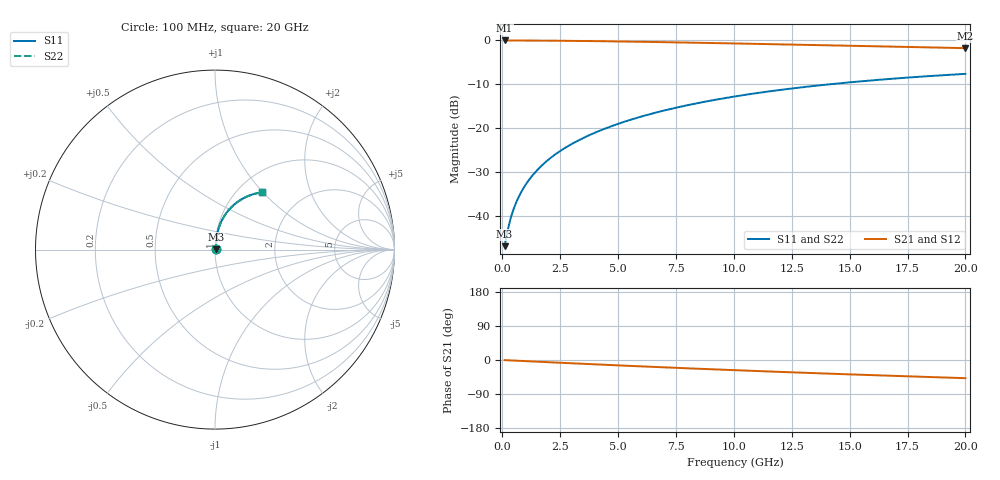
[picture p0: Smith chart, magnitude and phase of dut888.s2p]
! Touchstone file exported from HFSS 2024.1.0
!  File:  C:/UserFiles/LocalFiles/RDL_TSV_Batchsim/temp_RDL_bottom_888_1779865786.aedt
!  Generated:  03:12:21 PM May 27, 2026
!  Design:  RDL_bottom
!  Project:  temp_RDL_bottom_888_1779865786
!  Setup:  Setup1
!  Solution:  Sweep
! Variables:
!  dtsv = 10.80580581um
!  hbump = 3um
!  htsv = 92.83um
!  ldown = 673.73um
!  lrdl = 100um
!  p = 40
!  p1 = 52.28um
!  rhole = 1um
!  t = 450um
!  tdown = 3um
!  trdl = 3.915915916um
!  wdown = 22.37um
!  wrdl = 20um
# GHz S MA R 50.000000
! Terminal data exported
! Port[1] = RDL1_T1
! Port[2] = RDL1_T2
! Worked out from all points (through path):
!   200 points, 100 MHz to 20 GHz, reference 50 ohm
!   highest |S21| = -0.03 dB at 100 MHz (marker M1); lowest = -1.8 dB at 20 GHz (marker M2)
!   group delay of S21, straight-line fit = 6.62 ps
!   lowest |S11| = -47.0 dB at 100 MHz (marker M3), VSWR 1.01, Z = 50.4 + j0.24 ohm
!   |S11| at or under -10 dB: start of sweep to 14.21 GHz
!   |S22| runs from -47.0 to -7.7 dB; largest |S21 - S12| = 1e-14
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0.1  0.004466 32.3  0.9962 -0.3  0.9962 -0.3  0.004466 32.3
! Gamma 0 0 0 0
! Port Impedance 50 0 50 0
0.2  0.00613 50.1  0.996 -0.6  0.996 -0.6  0.00613 50.1
0.3  0.008066 59.2  0.9958 -0.9  0.9958 -0.9  0.008066 59.2
0.4  0.01006 64.6  0.9956 -1.2  0.9956 -1.2  0.01006 64.6
0.5  0.01208 68.2  0.9953 -1.5  0.9953 -1.5  0.01208 68.2
0.6  0.0141 70.9  0.9951 -1.8  0.9951 -1.8  0.0141 70.9
0.8  0.01818 74.5  0.9947 -2.4  0.9947 -2.4  0.01818 74.5
1.1  0.0244 77.7  0.9939 -3.2  0.9939 -3.2  0.0244 77.7
1.3  0.0286 79.1  0.9934 -3.8  0.9934 -3.8  0.0286 79.1
1.6  0.03497 80.5  0.9924 -4.7  0.9924 -4.7  0.03497 80.5
2.1  0.04574 81.7  0.9904 -6.1  0.9904 -6.1  0.04574 81.7
2.7  0.05888 82.3  0.9875 -7.8  0.9875 -7.8  0.05888 82.3
3.5  0.07676 82.2  0.9826 -10.1  0.9826 -10.1  0.07676 82.2
4.2  0.09271 81.7  0.9776 -12.0  0.9776 -12.0  0.09271 81.7
5  0.1112 80.8  0.9711 -14.2  0.9711 -14.2  0.1112 80.8
6.8  0.1535 77.9  0.9546 -18.9  0.9546 -18.9  0.1535 77.9
8.4  0.191 74.8  0.9384 -22.9  0.9384 -22.9  0.191 74.8
10.1  0.2299 71.2  0.9203 -27.0  0.9203 -27.0  0.2299 71.2
11.7  0.265 67.7  0.9029 -30.7  0.9029 -30.7  0.265 67.7
13.4  0.3002 64.0  0.8843 -34.5  0.8843 -34.5  0.3002 64.0
16.7  0.3618 57.0  0.8485 -41.5  0.8485 -41.5  0.3618 57.0
20  0.414 50.5  0.814 -47.9  0.814 -47.9  0.414 50.5
